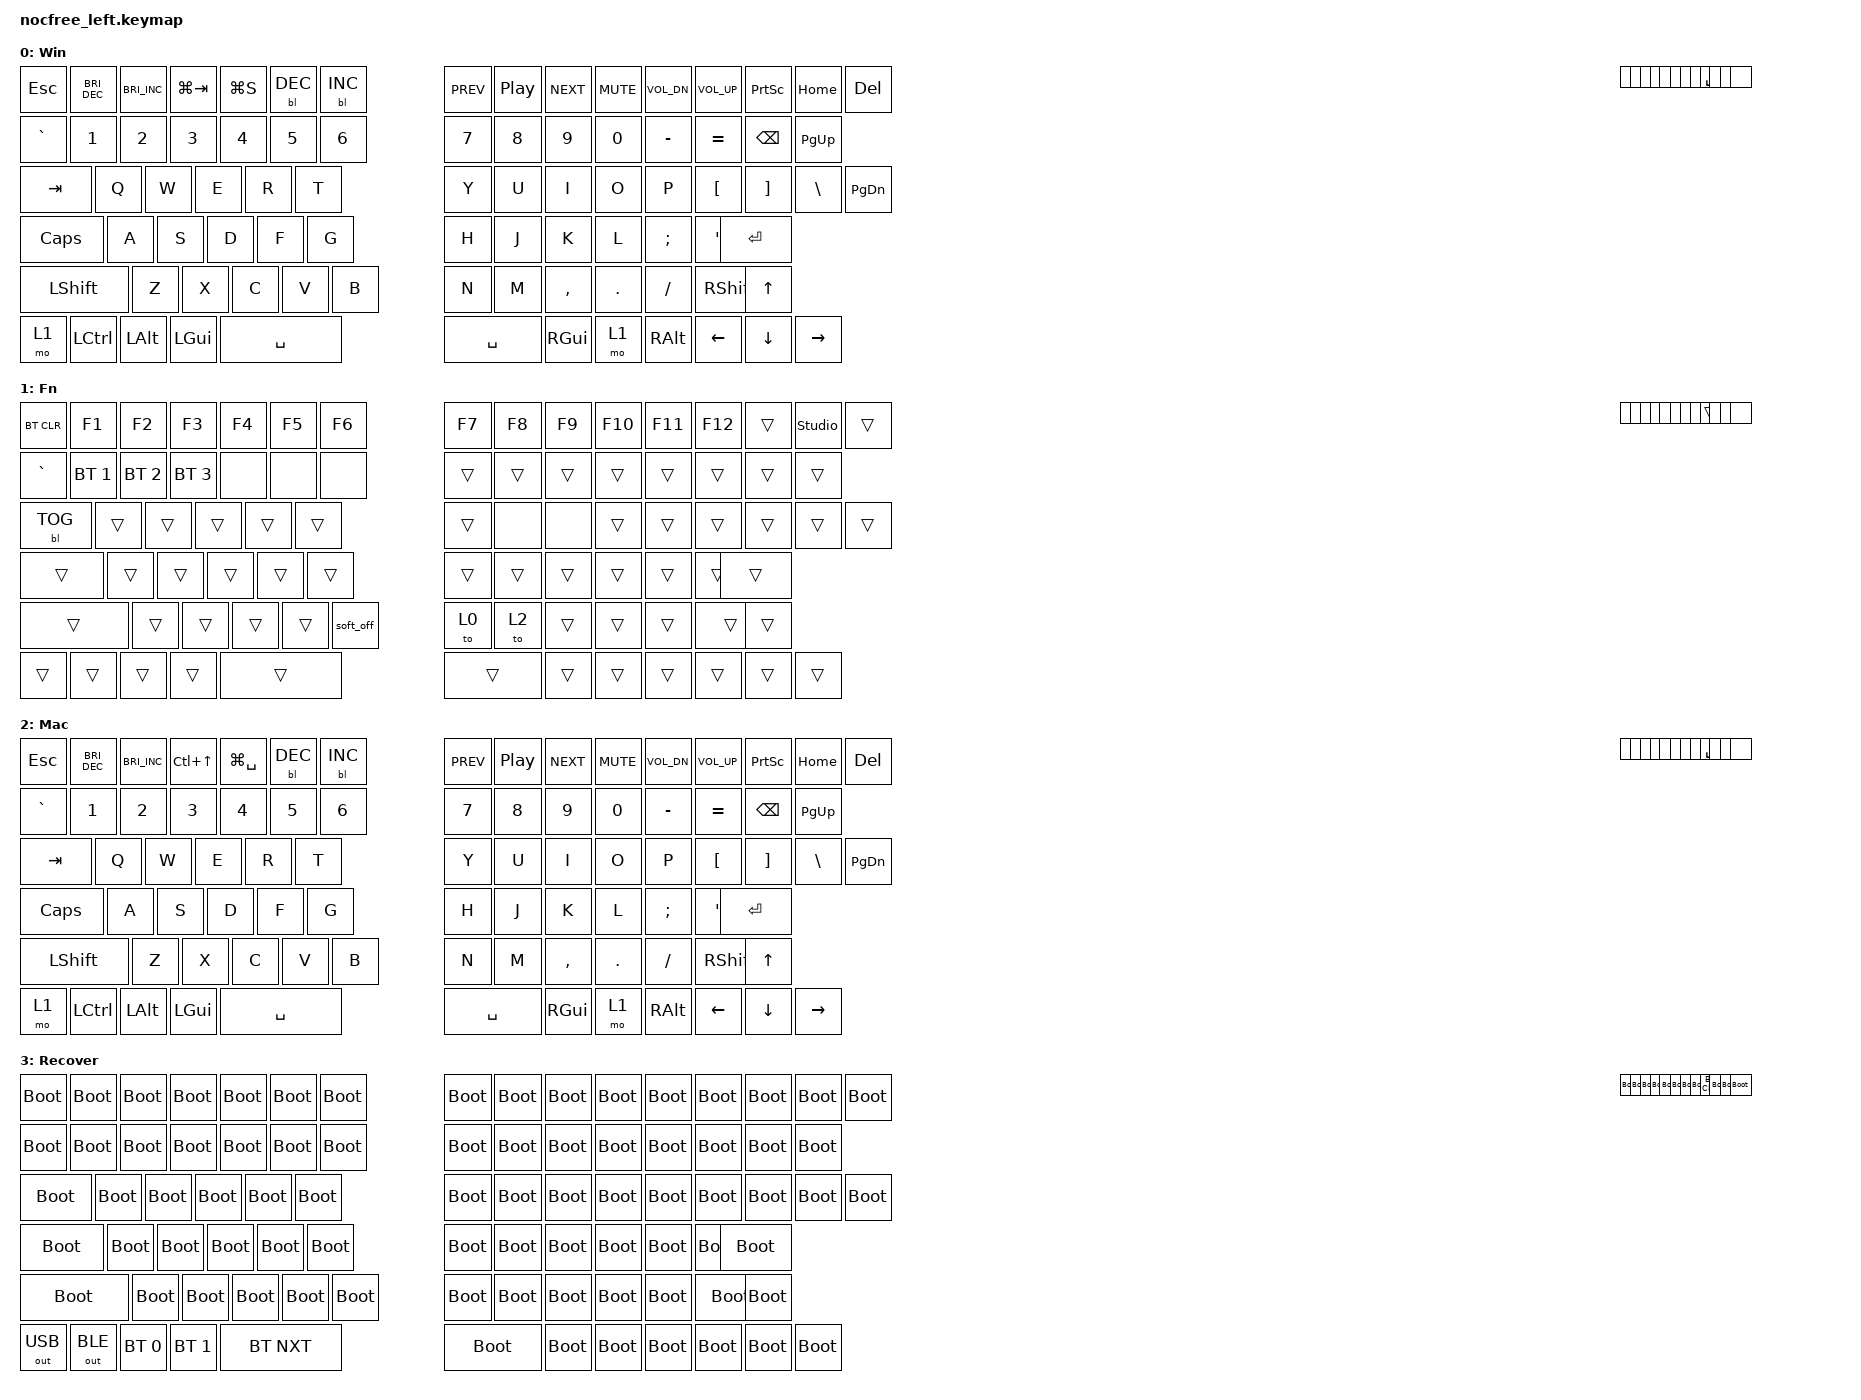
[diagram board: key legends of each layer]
/*
 * CENTRAL keymap for the NocFree "&" — standard 65% QWERTY. Edit to taste
 * (or via ZMK Studio, which is enabled on the left half).
 *
 * CENTRAL keymap, 96 positions: 0-47 = left half (kscan cols 0-47),
 * 48-95 = right half (col-offset 48). The right half's own .keymap is an
 * inert placeholder -- peripherals never evaluate bindings.
 *
 * PHYSICAL LAYOUT (vendor grid; '|' = the empirical half split):
 *   r0  ESC  F1 F2 F3 F4 F5 F6 | F7 F8 F9 F10 F11 F12 PRTSC HOME DEL
 *   r1  GRV  1  2  3  4  5  6  | 7  8  9   0   -   =   BKSP  PGUP
 *   r2  TAB  Q  W  E  R  T     | Y  U  I   O   P   [   ]     \     PGDN
 *   r3  CAPS A  S  D  F  G     | H  J  K   L   ;   '   RET
 *   r4  LSFT Z  X  C  V  B     | N  M  ,   .   /   RSFT  UP
 *   r5  FN   LCT LAL LGI SPC   | SPC RGI FN RALT LEFT DOWN RIGHT
 *
 * RIGHT-HAND COLUMN -- CONFIRMED BY KEYCAP. This replaces an earlier guess
 * that put DEL at the end of r3 and PGDN at the end of r4; both were wrong.
 * DEL is in the TOP row next to HOME, PGUP is in r1, and PGDN is in r2 at
 * the far right edge just past the backslash. (The Studio layout used to
 * place PGDN on the same coordinates as the backslash, hiding the backslash
 * completely in the editor -- fixed in nocfree.dtsi.)
 *
 * ALSO CONFIRMED ON HARDWARE:
 *   - the left half's top row ENDS AT F6. There is no switch at pos 7, so
 *     nothing reachable may be bound there (an earlier soft-off binding
 *     there could never have fired).
 *   - the left bottom row has ONE long spacebar (pos 44). Pos 45 is a
 *     phantom matrix slot with no switch behind it.
 *
 * LAYERS: 0 = Win (DEFAULT: the user's host is Windows behind a KVM; stock
 * defaults to macOS), 1 = Fn, 2 = Mac, 3 = Recover. Fn+M -> Mac, Fn+N -> Win
 * (per the manual; the stock dump puts those opcodes at the M/N positions).
 * Only the F3/F4 chords differ between OS layers, matching stock opcodes 8/9.
 *
 * Top row on the base layers is the vendor media row (manual):
 *   F1/F2 display bright -/+   F3 Task View / Mission Ctrl   F4 Search / Spotlight
 *   F5/F6 kbd backlight -/+    F7-F9 prev/play/next          F10-F12 mute/vol-/vol+
 *
 * RECOVERY: hold ESC (pos 0) + TAB (pos 16) from idle, then any key -> that
 * half resets to the bootloader (locality EVENT_SOURCE). Layer 3 row 5 keeps
 * manual transport overrides.
 */

/*
 * Studio snippet defines ZMK_BEHAVIORS_KEEP_ALL (all behaviors in firmware).
 * nRF52833 code partition is 276 KB and left is already ~88% without Studio;
 * KEEP_ALL will not fit. Undef it and keep only what Studio remaps need.
 */
#undef ZMK_BEHAVIORS_KEEP_ALL
#define ZMK_BEHAVIORS_KEEP_BL
#define ZMK_BEHAVIORS_KEEP_KP
#define ZMK_BEHAVIORS_KEEP_BT
#define ZMK_BEHAVIORS_KEEP_OUT
#define ZMK_BEHAVIORS_KEEP_MO
#define ZMK_BEHAVIORS_KEEP_TO
#define ZMK_BEHAVIORS_KEEP_TOG
#define ZMK_BEHAVIORS_KEEP_MT
#define ZMK_BEHAVIORS_KEEP_LT
#define ZMK_BEHAVIORS_KEEP_SK
#define ZMK_BEHAVIORS_KEEP_STICKY_LAYER
#define ZMK_BEHAVIORS_KEEP_SOFT_OFF
#define ZMK_BEHAVIORS_KEEP_NONE
#define ZMK_BEHAVIORS_KEEP_TRANS
#define ZMK_BEHAVIORS_KEEP_CAPS_WORD
#define ZMK_BEHAVIORS_KEEP_KEY_REPEAT
#define ZMK_BEHAVIORS_KEEP_KT
#include <behaviors.dtsi>
#include <dt-bindings/zmk/keys.h>
#include <dt-bindings/zmk/bt.h>
#include <dt-bindings/zmk/outputs.h>
#include <dt-bindings/zmk/backlight.h>

/* Soft-off: hold 2s (tap is ignored). From behaviors/soft_off.dtsi as &soft_off. */
&soft_off {
	hold-time-ms = <2000>;
	split-peripheral-off-on-press;
};

/ {
	keymap {
		compatible = "zmk,keymap";

		win_layer: layer_0 {
			display-name = "Win";
			bindings = <
			&kp ESC            &kp C_BRI_DEC      &kp C_BRI_INC      &kp LG(TAB)        &kp LG(S)          &bl BL_DEC         &bl BL_INC         &none	/* pos 0-7 */
			&kp GRAVE          &kp N1             &kp N2             &kp N3             &kp N4             &kp N5             &kp N6             &none	/* pos 8-15 */
			&kp TAB            &kp Q              &kp W              &kp E              &kp R              &kp T              &none              &none	/* pos 16-23 */
			&kp CAPS           &kp A              &kp S              &kp D              &kp F              &kp G              &none              &none	/* pos 24-31 */
			&kp LSHIFT         &kp Z              &kp X              &kp C              &kp V              &kp B              &none              &none	/* pos 32-39 */
			&mo 1              &kp LCTRL          &kp LALT           &kp LGUI           &kp SPACE          &kp SPACE          &none              &none	/* pos 40-47 */
			&kp C_PREV         &kp C_PP           &kp C_NEXT         &kp C_MUTE         &kp C_VOL_DN       &kp C_VOL_UP       &kp PRINTSCREEN    &kp HOME	/* pos 48-55 */
			&kp N7             &kp N8             &kp N9             &kp N0             &kp MINUS          &kp EQUAL          &kp BACKSPACE      &kp PAGE_UP	/* pos 56-63 */
			&kp Y              &kp U              &kp I              &kp O              &kp P              &kp LBKT           &kp RBKT           &kp BSLH	/* pos 64-71 */
			&kp H              &kp J              &kp K              &kp L              &kp SEMI           &kp SQT            &kp RET            &kp DEL	/* pos 72-79 */
			&kp N              &kp M              &kp COMMA          &kp DOT            &kp FSLH           &kp RSHIFT         &kp UP_ARROW       &kp PAGE_DOWN	/* pos 80-87 */
			&kp SPACE          &kp RGUI           &mo 1              &kp RALT           &kp LEFT_ARROW     &kp DOWN_ARROW     &kp RIGHT_ARROW    &none	/* pos 88-95 */
			>;
		};

		fn_layer: layer_1 {
			display-name = "Fn";
			bindings = <
			&bt BT_CLR         &kp F1             &kp F2             &kp F3             &kp F4             &kp F5             &kp F6             &none	/* pos 0-7: pos 7 has NO PHYSICAL KEY (left top row ends at F6) */
			/* Host BT slots 1–3; profile 0 is dongle/2.4G (mode switch). */
			&kp GRAVE          &bt BT_SEL 1       &bt BT_SEL 2       &bt BT_SEL 3       &none              &none              &none              &none	/* pos 8-15 */
			&bl BL_TOG         &trans             &trans             &trans             &trans             &trans             &none              &none	/* pos 16-23 */
			&trans             &trans             &trans             &trans             &trans             &trans             &none              &none	/* pos 24-31 */
			&trans             &trans             &trans             &trans             &trans             &soft_off          &none              &none	/* pos 32-39: Fn+B (pos 37) = hold 2 s for soft-off */
			&trans             &trans             &trans             &trans             &trans             &trans             &none              &none	/* pos 40-47 */
			&kp F7             &kp F8             &kp F9             &kp F10            &kp F11            &kp F12            &trans             &studio_unlock	/* pos 48-55: Fn+Home = unlock ZMK Studio */
			&trans             &trans             &trans             &trans             &trans             &trans             &trans             &trans	/* pos 56-63 */
			&trans             &none              &none              &trans             &trans             &trans             &trans             &trans	/* pos 64-71 */
			&trans             &trans             &trans             &trans             &trans             &trans             &trans             &trans	/* pos 72-79 */
			&to 0              &to 2              &trans             &trans             &trans             &trans             &trans             &trans	/* pos 80-87 */
			&trans             &trans             &trans             &trans             &trans             &trans             &trans             &none	/* pos 88-95 */
			>;
		};

		mac_layer: layer_2 {
			display-name = "Mac";
			bindings = <
			&kp ESC            &kp C_BRI_DEC      &kp C_BRI_INC      &kp LC(UP_ARROW)   &kp LG(SPACE)      &bl BL_DEC         &bl BL_INC         &none	/* pos 0-7 */
			&kp GRAVE          &kp N1             &kp N2             &kp N3             &kp N4             &kp N5             &kp N6             &none	/* pos 8-15 */
			&kp TAB            &kp Q              &kp W              &kp E              &kp R              &kp T              &none              &none	/* pos 16-23 */
			&kp CAPS           &kp A              &kp S              &kp D              &kp F              &kp G              &none              &none	/* pos 24-31 */
			&kp LSHIFT         &kp Z              &kp X              &kp C              &kp V              &kp B              &none              &none	/* pos 32-39 */
			&mo 1              &kp LCTRL          &kp LALT           &kp LGUI           &kp SPACE          &kp SPACE          &none              &none	/* pos 40-47 */
			&kp C_PREV         &kp C_PP           &kp C_NEXT         &kp C_MUTE         &kp C_VOL_DN       &kp C_VOL_UP       &kp PRINTSCREEN    &kp HOME	/* pos 48-55 */
			&kp N7             &kp N8             &kp N9             &kp N0             &kp MINUS          &kp EQUAL          &kp BACKSPACE      &kp PAGE_UP	/* pos 56-63 */
			&kp Y              &kp U              &kp I              &kp O              &kp P              &kp LBKT           &kp RBKT           &kp BSLH	/* pos 64-71 */
			&kp H              &kp J              &kp K              &kp L              &kp SEMI           &kp SQT            &kp RET            &kp DEL	/* pos 72-79 */
			&kp N              &kp M              &kp COMMA          &kp DOT            &kp FSLH           &kp RSHIFT         &kp UP_ARROW       &kp PAGE_DOWN	/* pos 80-87 */
			&kp SPACE          &kp RGUI           &mo 1              &kp RALT           &kp LEFT_ARROW     &kp DOWN_ARROW     &kp RIGHT_ARROW    &none	/* pos 88-95 */
			>;
		};

		recovery_layer: layer_3 {
			display-name = "Recover";
			bindings = <
			&bootloader        &bootloader        &bootloader        &bootloader        &bootloader        &bootloader        &bootloader        &bootloader	/* pos 0-7 */
			&bootloader        &bootloader        &bootloader        &bootloader        &bootloader        &bootloader        &bootloader        &bootloader	/* pos 8-15 */
			&bootloader        &bootloader        &bootloader        &bootloader        &bootloader        &bootloader        &bootloader        &bootloader	/* pos 16-23 */
			&bootloader        &bootloader        &bootloader        &bootloader        &bootloader        &bootloader        &bootloader        &bootloader	/* pos 24-31 */
			&bootloader        &bootloader        &bootloader        &bootloader        &bootloader        &bootloader        &bootloader        &bootloader	/* pos 32-39 */
			&out OUT_USB       &out OUT_BLE       &bt BT_SEL 0       &bt BT_SEL 1       &bt BT_NXT         &bt BT_CLR         &bootloader        &bootloader	/* pos 40-47 */
			&bootloader        &bootloader        &bootloader        &bootloader        &bootloader        &bootloader        &bootloader        &bootloader	/* pos 48-55 */
			&bootloader        &bootloader        &bootloader        &bootloader        &bootloader        &bootloader        &bootloader        &bootloader	/* pos 56-63 */
			&bootloader        &bootloader        &bootloader        &bootloader        &bootloader        &bootloader        &bootloader        &bootloader	/* pos 64-71 */
			&bootloader        &bootloader        &bootloader        &bootloader        &bootloader        &bootloader        &bootloader        &bootloader	/* pos 72-79 */
			&bootloader        &bootloader        &bootloader        &bootloader        &bootloader        &bootloader        &bootloader        &bootloader	/* pos 80-87 */
			&bootloader        &bootloader        &bootloader        &bootloader        &bootloader        &bootloader        &bootloader        &bootloader	/* pos 88-95 */
			>;
		};

		/*
		 * Empty slots ZMK Studio can enable without reflashing.
		 *
		 * The bindings below are LOAD-BEARING, not decoration. A layer node
		 * with no `bindings` property compiles, via TRANSFORMED_LAYER in
		 * zmk/app/src/keymap.c, to an EMPTY initialiser -- i.e. 96 zeroed
		 * bindings whose behavior_dev is NULL and whose behavior local id is
		 * 0. Studio cannot resolve id 0, so "add layer" produced a layer that
		 * rendered blank AND could not be clicked. Not a Studio bug.
		 *
		 * &trans (not a copy of the base layer) is deliberate: a new layer
		 * should fall through to whatever is beneath it, so you override only
		 * what you change and later edits to the base still propagate.
		 *
		 * Costs no flash worth counting -- the keymap array is dimensioned
		 * [layers][96] regardless, so this space was already allocated and
		 * merely held zeros.
		 */
		studio_extra_0: layer_4 {
			display-name = "Extra1";
			status = "reserved";
			bindings = <
			&trans             &trans             &trans             &trans             &trans             &trans             &trans             &trans	/* pos 0-7 */
			&trans             &trans             &trans             &trans             &trans             &trans             &trans             &trans	/* pos 8-15 */
			&trans             &trans             &trans             &trans             &trans             &trans             &trans             &trans	/* pos 16-23 */
			&trans             &trans             &trans             &trans             &trans             &trans             &trans             &trans	/* pos 24-31 */
			&trans             &trans             &trans             &trans             &trans             &trans             &trans             &trans	/* pos 32-39 */
			&trans             &trans             &trans             &trans             &trans             &trans             &trans             &trans	/* pos 40-47 */
			&trans             &trans             &trans             &trans             &trans             &trans             &trans             &trans	/* pos 48-55 */
			&trans             &trans             &trans             &trans             &trans             &trans             &trans             &trans	/* pos 56-63 */
			&trans             &trans             &trans             &trans             &trans             &trans             &trans             &trans	/* pos 64-71 */
			&trans             &trans             &trans             &trans             &trans             &trans             &trans             &trans	/* pos 72-79 */
			&trans             &trans             &trans             &trans             &trans             &trans             &trans             &trans	/* pos 80-87 */
			&trans             &trans             &trans             &trans             &trans             &trans             &trans             &trans	/* pos 88-95 */
			>;
		};

		studio_extra_1: layer_5 {
			display-name = "Extra2";
			status = "reserved";
			bindings = <
			&trans             &trans             &trans             &trans             &trans             &trans             &trans             &trans	/* pos 0-7 */
			&trans             &trans             &trans             &trans             &trans             &trans             &trans             &trans	/* pos 8-15 */
			&trans             &trans             &trans             &trans             &trans             &trans             &trans             &trans	/* pos 16-23 */
			&trans             &trans             &trans             &trans             &trans             &trans             &trans             &trans	/* pos 24-31 */
			&trans             &trans             &trans             &trans             &trans             &trans             &trans             &trans	/* pos 32-39 */
			&trans             &trans             &trans             &trans             &trans             &trans             &trans             &trans	/* pos 40-47 */
			&trans             &trans             &trans             &trans             &trans             &trans             &trans             &trans	/* pos 48-55 */
			&trans             &trans             &trans             &trans             &trans             &trans             &trans             &trans	/* pos 56-63 */
			&trans             &trans             &trans             &trans             &trans             &trans             &trans             &trans	/* pos 64-71 */
			&trans             &trans             &trans             &trans             &trans             &trans             &trans             &trans	/* pos 72-79 */
			&trans             &trans             &trans             &trans             &trans             &trans             &trans             &trans	/* pos 80-87 */
			&trans             &trans             &trans             &trans             &trans             &trans             &trans             &trans	/* pos 88-95 */
			>;
		};
	};

	combos {
		compatible = "zmk,combos";

		/* ESC (pos 0) + TAB (pos 16): both on the left half, and both
		 * UNAMBIGUOUS under every position-map theory (the bottom-row Fn
		 * position is disputed, so Fn is not used here). require-prior-idle
		 * keeps it from firing mid-typing. */
		recovery_combo {
			bindings = <&mo 3>;
			key-positions = <0 16>;
			timeout-ms = <50>;
			require-prior-idle-ms = <500>;
		};
	};
};
